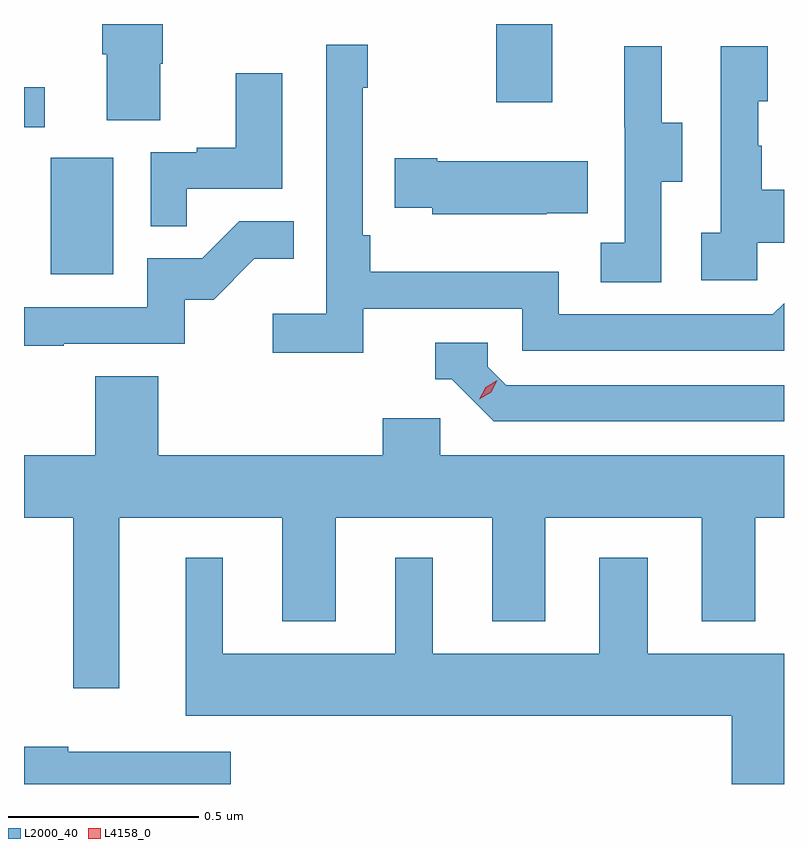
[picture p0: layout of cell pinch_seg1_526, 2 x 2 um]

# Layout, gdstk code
import gdstk
lib = gdstk.Library(unit=1e-6, precision=1e-09)
def R(c, l, rs):  # rectangles x0, y0, x1, y1
    for r in rs: c.add(gdstk.rectangle(r[:2], r[2:], *l))
def P(c, l, *ps):  # polygons
    for p in ps: c.add(gdstk.Polygon(p, *l))
L2000_40 = (2000, 40)
L4158_0 = (4158, 0)

pinch_seg1_526 = lib.new_cell('pinch_seg1_526')
R(pinch_seg1_526, L2000_40, [(1042.886,525.732,1043.05,526.039), (1042.815,526.119,1042.87,526.225), (1044.058,526.185,1044.205,526.391)])
P(pinch_seg1_526, L2000_40, [(1043.173,526.287),(1043.18,526.287),(1043.18,526.391),(1043.021,526.391),(1043.021,526.312),(1043.033,526.312),(1043.033,526.138),(1043.173,526.138)],
  [(1043.708,525.642),(1044.126,525.642),(1044.126,525.531),(1044.815,525.531),(1044.815,525.656),(1044.786,525.627),(1044.222,525.627),(1044.222,525.739),(1043.726,525.739),(1043.726,525.835),(1043.706,525.835),(1043.706,526.223),(1043.719,526.223),(1043.719,526.336),(1043.61,526.336),(1043.61,525.628),(1043.469,525.628),(1043.469,525.526),(1043.708,525.526)],
  [(1044.744,525.815),(1044.815,525.815),(1044.815,525.955),(1044.757,525.955),(1044.757,526.07),(1044.747,526.07),(1044.747,526.188),(1044.772,526.188),(1044.772,526.333),(1044.648,526.333),(1044.648,525.842),(1044.597,525.842),(1044.597,525.717),(1044.744,525.717)],
  [(1044.492,525.976),(1044.547,525.976),(1044.547,526.131),(1044.493,526.131),(1044.493,526.333),(1044.395,526.333),(1044.395,526.119),(1044.396,526.119),(1044.396,525.815),(1044.333,525.815),(1044.333,525.712),(1044.492,525.712)],
  [(1043.243,525.957),(1043.494,525.957),(1043.494,526.261),(1043.372,526.261),(1043.372,526.066),(1043.269,526.066),(1043.269,526.053),(1043.148,526.053),(1043.148,525.859),(1043.243,525.859)],
  [(1044.191,525.893),(1044.299,525.893),(1044.299,526.03),(1043.902,526.03),(1043.902,526.038),(1043.791,526.038),(1043.791,525.908),(1043.889,525.908),(1043.889,525.89),(1044.191,525.89)],
  [(1042.919,525.549),(1043.238,525.549),(1043.238,525.666),(1043.314,525.666),(1043.421,525.773),(1043.525,525.773),(1043.525,525.872),(1043.382,525.872),(1043.284,525.774),(1043.139,525.774),(1043.139,525.645),(1042.815,525.645),(1042.815,525.544),(1042.919,525.544)],
  [(1044.815,525.441),(1044.084,525.441),(1044.036,525.489),(1044.036,525.552),(1043.897,525.552),(1043.897,525.456),(1043.94,525.456),(1044.051,525.345),(1044.815,525.345)],
  [(1044.047,524.819),(1044.187,524.819),(1044.187,525.092),(1044.599,525.092),(1044.599,524.819),(1044.739,524.819),(1044.739,525.092),(1044.815,525.092),(1044.815,525.256),(1043.91,525.256),(1043.91,525.354),(1043.759,525.354),(1043.759,525.256),(1043.168,525.256),(1043.168,525.464),(1043.003,525.464),(1043.003,525.256),(1042.815,525.256),(1042.815,525.092),(1042.944,525.092),(1042.944,524.643),(1043.065,524.643),(1043.065,525.092),(1043.495,525.092),(1043.495,524.819),(1043.635,524.819),(1043.635,525.092),(1044.047,525.092)],
  [(1044.815,524.734),(1044.457,524.734),(1044.457,524.986),(1044.329,524.986),(1044.329,524.734),(1043.89,524.734),(1043.89,524.986),(1043.792,524.986),(1043.792,524.734),(1043.338,524.734),(1043.338,524.986),(1043.24,524.986),(1043.24,524.57),(1044.677,524.57),(1044.677,524.391),(1044.815,524.391)],
  [(1043.359,524.476),(1042.932,524.476),(1042.932,524.489),(1042.815,524.489),(1042.815,524.391),(1043.359,524.391)])
P(pinch_seg1_526, L4158_0, [(1044.013,525.403),(1044.013,525.403),(1044.03,525.435),(1044.061,525.454),(1044.061,525.454),(1044.061,525.454),(1044.044,525.422),(1044.013,525.403)])

lib.write_gds('pinch_seg1_526.gds')
